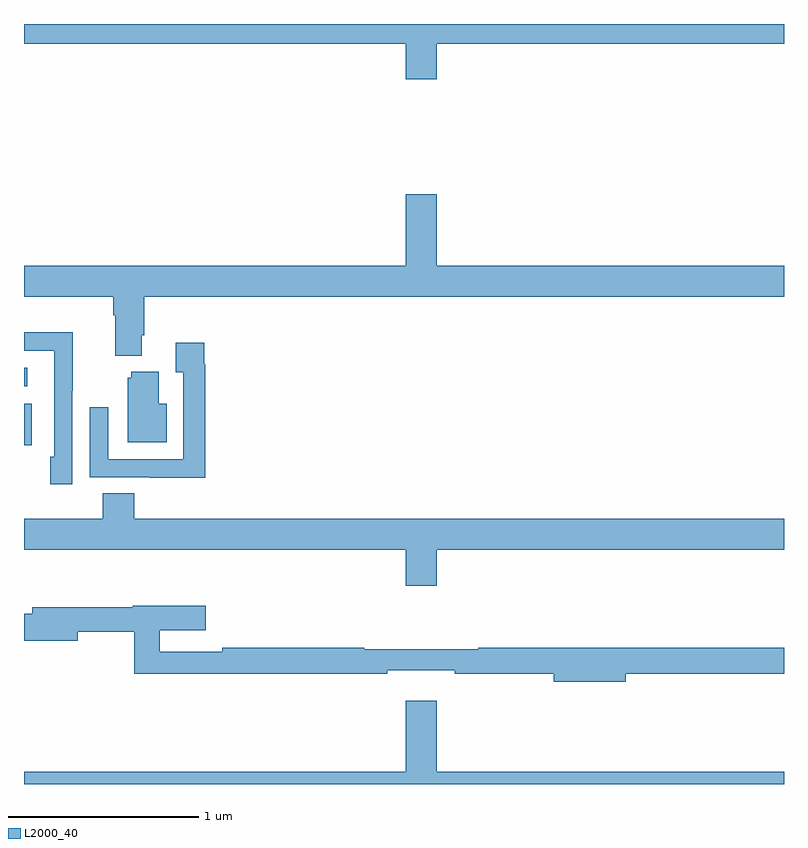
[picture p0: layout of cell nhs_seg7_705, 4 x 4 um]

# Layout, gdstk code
import gdstk
lib = gdstk.Library(unit=1e-6, precision=1e-09)
def R(c, l, rs):  # rectangles x0, y0, x1, y1
    for r in rs: c.add(gdstk.rectangle(r[:2], r[2:], *l))
def P(c, l, *ps):  # polygons
    for p in ps: c.add(gdstk.Polygon(p, *l))
L2000_40 = (2000, 40)

nhs_seg7_705 = lib.new_cell('nhs_seg7_705')
R(nhs_seg7_705, L2000_40, [(163,1051.783,163.042,1052.002), (163,1052.094,163.018,1052.19)])
P(nhs_seg7_705, L2000_40, [(165.172,1053.896),(167,1053.896),(167,1054),(163,1054),(163,1053.896),(165.008,1053.896),(165.008,1053.708),(165.172,1053.708)],
  [(163.621,1052.362),(163.634,1052.362),(163.634,1052.564),(167,1052.564),(167,1052.728),(165.172,1052.728),(165.172,1053.103),(165.008,1053.103),(165.008,1052.728),(163,1052.728),(163,1052.564),(163.469,1052.564),(163.469,1052.468),(163.481,1052.468),(163.481,1052.255),(163.621,1052.255)],
  [(163.254,1052.071),(163.257,1052.071),(163.257,1052.378),(163,1052.378),(163,1052.28),(163.158,1052.28),(163.158,1051.722),(163.139,1051.722),(163.139,1051.578),(163.254,1051.578)],
  [(163.955,1052.21),(163.948,1052.21),(163.948,1052.323),(163.799,1052.323),(163.799,1052.167),(163.839,1052.167),(163.839,1051.71),(163.443,1051.71),(163.443,1051.984),(163.347,1051.984),(163.347,1051.614),(163.663,1051.614),(163.663,1051.613),(163.955,1051.613)],
  [(163.75,1052.002),(163.708,1052.002),(163.708,1052.17),(163.565,1052.17),(163.565,1052.139),(163.547,1052.139),(163.547,1051.799),(163.75,1051.799)],
  [(165.172,1051.232),(167,1051.232),(167,1051.396),(163.58,1051.396),(163.58,1051.529),(163.415,1051.529),(163.415,1051.396),(163,1051.396),(163,1051.232),(165.008,1051.232),(165.008,1051.044),(165.172,1051.044)],
  [(166.168,1050.58),(167,1050.58),(167,1050.716),(165.392,1050.716),(165.392,1050.709),(164.792,1050.709),(164.792,1050.716),(164.044,1050.716),(164.044,1050.696),(163.715,1050.696),(163.715,1050.809),(163.957,1050.809),(163.957,1050.939),(163.572,1050.939),(163.572,1050.931),(163.043,1050.931),(163.043,1050.897),(163,1050.897),(163,1050.755),(163.282,1050.755),(163.282,1050.802),(163.579,1050.802),(163.579,1050.58),(164.912,1050.58),(164.912,1050.599),(165.268,1050.599),(165.268,1050.58),(165.788,1050.58),(165.788,1050.538),(166.168,1050.538)],
  [(167,1050.064),(165.172,1050.064),(165.172,1050.439),(165.008,1050.439),(165.008,1050.064),(163,1050.064),(163,1050),(167,1050)])

lib.write_gds('nhs_seg7_705.gds')
